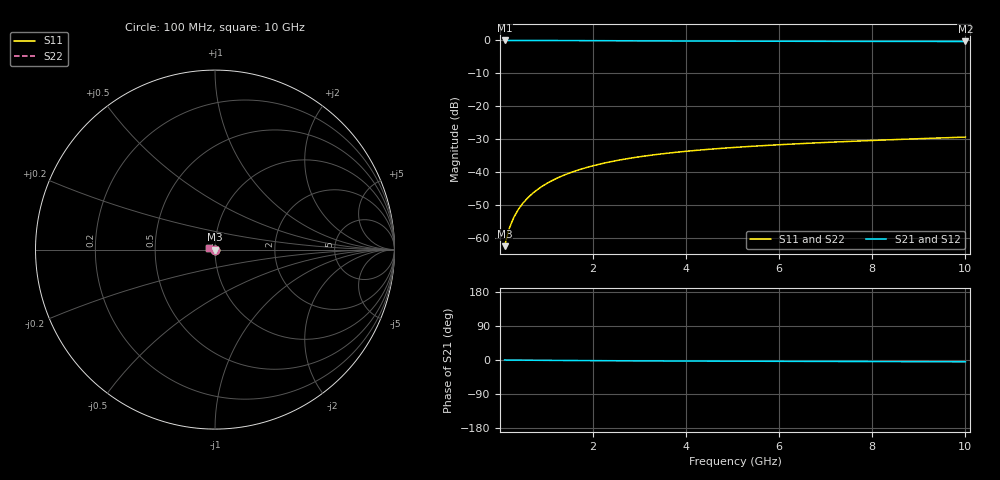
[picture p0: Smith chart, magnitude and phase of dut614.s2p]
! Touchstone file exported from HFSS 2024.1.0
!  File:  C:/UserFiles/LocalFiles/RDL_TSV_Batchsim/temp_TSV1_614_1779788439.aedt
!  Generated:  05:46:06 PM May 26, 2026
!  Design:  TSV1
!  Project:  temp_TSV1_614_1779788439
!  Setup:  Setup1
!  Solution:  Sweep
! Variables:
!  dtsv = 6.32um
!  hbump = 3um
!  htsv = 72.24um
!  lrdl = 252.1521522um
!  p = 40
!  p1 = 42.84um
!  t = 500um
!  trdl = 3um
!  wrdl = 24.89489489um
# GHz S MA R 50.000000
! Terminal data exported
! Port[1] = TSV22_T1
! Port[2] = TSV22_T2
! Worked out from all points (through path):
!   100 points, 100 MHz to 10 GHz, reference 50 ohm
!   highest |S21| = 0.00 dB at 100 MHz (marker M1); lowest = -0.3 dB at 10 GHz (marker M2)
!   lowest |S11| = -62.5 dB at 100 MHz (marker M3), VSWR 1.00, Z = 50 - j0.0682 ohm
!   |S11| at or under -10 dB: start of sweep to end of sweep
!   |S22| runs from -62.5 to -29.4 dB; largest |S21 - S12| = 1.8e-14
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0.1  0.0007505 -65.3  0.9996 -0.1  0.9996 -0.1  0.0007505 -65.3
! Gamma 0 0 0 0
! Port Impedance 50 0 50 0
0.2  0.001403 -79.6  0.9996 -0.2  0.9996 -0.2  0.001403 -79.6
0.3  0.002074 -86.0  0.9994 -0.3  0.9994 -0.3  0.002074 -86.0
0.4  0.002747 -90.2  0.9993 -0.4  0.9993 -0.4  0.002747 -90.2
0.5  0.003418 -93.5  0.9991 -0.5  0.9991 -0.5  0.003418 -93.5
0.6  0.004085 -96.2  0.9988 -0.6  0.9988 -0.6  0.004085 -96.2
0.7  0.004746 -98.7  0.9986 -0.6  0.9986 -0.6  0.004746 -98.7
0.8  0.005401 -101.0  0.9982 -0.7  0.9982 -0.7  0.005401 -101.0
0.9  0.006049 -103.2  0.9979 -0.8  0.9979 -0.8  0.006049 -103.2
1.1  0.007317 -107.3  0.9971 -1.0  0.9971 -1.0  0.007317 -107.3
1.4  0.009145 -113.0  0.9957 -1.2  0.9957 -1.2  0.009145 -113.0
1.6  0.01031 -116.6  0.9946 -1.4  0.9946 -1.4  0.01031 -116.6
1.8  0.01142 -120.1  0.9935 -1.5  0.9935 -1.5  0.01142 -120.1
2.1  0.01301 -125.1  0.9917 -1.7  0.9917 -1.7  0.01301 -125.1
2.5  0.01494 -131.3  0.9893 -2.0  0.9893 -2.0  0.01495 -131.3
2.9  0.0167 -137.0  0.9868 -2.2  0.9868 -2.2  0.0167 -137.0
3.4  0.01866 -143.7  0.9839 -2.5  0.9839 -2.5  0.01866 -143.7
4.2  0.02135 -153.2  0.9797 -2.8  0.9797 -2.8  0.02135 -153.2
5.1  0.02388 -162.5  0.9758 -3.2  0.9758 -3.2  0.02388 -162.5
6.7  0.0276 -176.3  0.9705 -3.7  0.9705 -3.7  0.0276 -176.3
8.4  0.03103 172.0  0.9666 -4.2  0.9666 -4.2  0.03103 172.0
10  0.03407 162.9  0.964 -4.8  0.964 -4.8  0.03407 162.9
